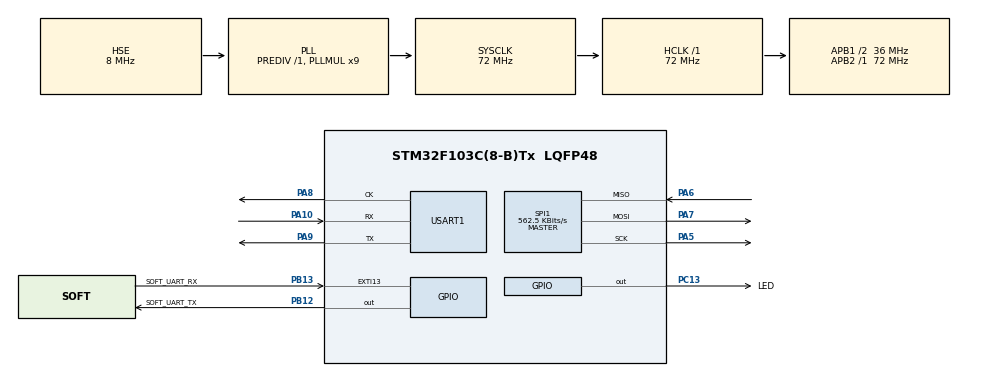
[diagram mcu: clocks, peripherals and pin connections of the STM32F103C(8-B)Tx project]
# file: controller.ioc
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Dma.MEMTOMEM.0.Direction=DMA_MEMORY_TO_MEMORY
Dma.MEMTOMEM.0.Instance=DMA1_Channel1
Dma.MEMTOMEM.0.MemDataAlignment=DMA_MDATAALIGN_BYTE
Dma.MEMTOMEM.0.MemInc=DMA_MINC_ENABLE
Dma.MEMTOMEM.0.Mode=DMA_NORMAL
Dma.MEMTOMEM.0.PeriphDataAlignment=DMA_PDATAALIGN_BYTE
Dma.MEMTOMEM.0.PeriphInc=DMA_PINC_ENABLE
Dma.MEMTOMEM.0.Priority=DMA_PRIORITY_LOW
Dma.Request0=MEMTOMEM
Mcu.Family=STM32F1
Mcu.Name=STM32F103C(8-B)Tx
Mcu.Package=LQFP48
NVIC.PriorityGroup=NVIC_PRIORITYGROUP_4
NVIC.SPI1_IRQn=true\:0\:0\:false\:false\:true\:true\:true
NVIC.TIM2_IRQn=true\:0\:0\:false\:false\:true\:true\:true
NVIC.USART1_IRQn=true\:0\:0\:false\:false\:true\:true\:true
PA10.Mode=Synchronous
PA10.Signal=USART1_RX
PA13.Mode=JTAG_4_pins
PA13.Signal=SYS_JTMS-SWDIO
PA14.Mode=JTAG_4_pins
PA14.Signal=SYS_JTCK-SWCLK
PA15.Mode=JTAG_4_pins
PA15.Signal=SYS_JTDI
PA5.Mode=Full_Duplex_Master
PA5.Signal=SPI1_SCK
PA6.Mode=Full_Duplex_Master
PA6.Signal=SPI1_MISO
PA7.Mode=Full_Duplex_Master
PA7.Signal=SPI1_MOSI
PA8.Mode=Synchronous
PA8.Signal=USART1_CK
PA9.Mode=Synchronous
PA9.Signal=USART1_TX
PB12.GPIO_Label=SOFT_UART_TX
PB12.Signal=GPIO_Output
PB13.GPIO_Label=SOFT_UART_RX
PB13.GPIO_ModeDefaultEXTI=GPIO_MODE_IT_FALLING
PB13.GPIO_PuPd=GPIO_PULLUP
PB13.Signal=GPXTI13
PB3.Mode=JTAG_4_pins
PB3.Signal=SYS_JTDO-TRACESWO
PC13-TAMPER-RTC.GPIO_Label=LED
PC13-TAMPER-RTC.Signal=GPIO_Output
PD0-OSC_IN.Mode=HSE-External-Oscillator
PD0-OSC_IN.Signal=RCC_OSC_IN
PD1-OSC_OUT.Mode=HSE-External-Oscillator
PD1-OSC_OUT.Signal=RCC_OSC_OUT
ProjectManager.HeapSize=0x200
ProjectManager.StackSize=0x400
ProjectManager.TargetToolchain=Makefile
RCC.AHBFreq_Value=72000000
RCC.APB1CLKDivider=RCC_HCLK_DIV2
RCC.APB1Freq_Value=36000000
RCC.APB1TimFreq_Value=72000000
RCC.APB2Freq_Value=72000000
RCC.APB2TimFreq_Value=72000000
RCC.HCLKFreq_Value=72000000
RCC.PLLMUL=RCC_PLL_MUL9
RCC.PLLSourceVirtual=RCC_PLLSOURCE_HSE
RCC.SYSCLKFreq_VALUE=72000000
RCC.SYSCLKSource=RCC_SYSCLKSOURCE_PLLCLK
RCC.USBFreq_Value=72000000
SPI1.BaudRatePrescaler=SPI_BAUDRATEPRESCALER_128
SPI1.CalculateBaudRate=562.5 KBits/s
SPI1.Direction=SPI_DIRECTION_2LINES
SPI1.Mode=SPI_MODE_MASTER
SPI1.VirtualType=VM_MASTER
TIM2.AutoReloadPreload=TIM_AUTORELOAD_PRELOAD_ENABLE
TIM2.ClockDivision=TIM_CLOCKDIVISION_DIV4
TIM2.Period=30000
USART1.VirtualMode=VM_SYNC
VP_TIM2_VS_ClockSourceINT.Mode=Internal
board=custom

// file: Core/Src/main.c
/* USER CODE BEGIN Header */
/**
  ******************************************************************************
  * @file           : main.c
  * @brief          : Main program body
  ******************************************************************************
  * @attention
  *
  * <h2><center>&copy; Copyright (c) 2021 STMicroelectronics.
  * All rights reserved.</center></h2>
  *
  * This software component is licensed by ST under BSD 3-Clause license,
  * the "License"; You may not use this file except in compliance with the
  * License. You may obtain a copy of the License at:
  *                        opensource.org/licenses/BSD-3-Clause
  *
  ******************************************************************************
  */
/* USER CODE END Header */
#include "main.h"

SPI_HandleTypeDef hspi1;

TIM_HandleTypeDef htim2;

USART_HandleTypeDef husart1;

DMA_HandleTypeDef hdma_memtomem_dma1_channel1;
/* USER CODE BEGIN PV */
typedef struct __soft_tx
{
  uint8_t *buffer;
  uint16_t buffer_size;
  uint8_t *read_pt;
  uint8_t *write_pt;
  uint8_t start;
  uint8_t end;
} soft_tx;

soft_tx suart;

int soft_uart_init(soft_tx *suart);
int soft_uart_tx_byte(uint8_t symbol);
void soft_uart_write(soft_tx *suart, uint8_t *string, uint16_t string_size);

/* USER CODE END PV */

void SystemClock_Config(void);
static void MX_GPIO_Init(void);
static void MX_DMA_Init(void);
static void MX_USART1_Init(void);
static void MX_TIM2_Init(void);
static void MX_SPI1_Init(void);

/* USER CODE BEGIN 0 */

int soft_uart_init(soft_tx *suart)
{
  suart->buffer_size = 100;

  uint8_t *ptr = malloc(suart->buffer_size);

  if (ptr == NULL)
  {
    return -1;
  }
  else
  {
    suart->buffer = suart->read_pt = suart->write_pt = ptr;
    suart->start = suart->end = 0;
    return 0;
  }
}

void soft_uart_write(soft_tx *suart, uint8_t *string, uint16_t string_size)
{
  for (; string_size > 0; string_size--)
  {
    if (suart->write_pt > (suart->start + suart->buffer_size))
    {
      suart->write_pt = suart->start;
    }

    *suart->write_pt = *string;

    if (*string == 0)
    {
      break;
    }

    string++;
    suart->write_pt++;
  }

  suart->start = 1;
}

/* USER CODE END 0 */

int main(void)
{

  /* MCU Configuration--------------------------------------------------------*/

  /* Reset of all peripherals, Initializes the Flash interface and the Systick. */
  HAL_Init();

  /* Configure the system clock */
  SystemClock_Config();

  /* Initialize all configured peripherals */
  MX_GPIO_Init();
  MX_DMA_Init();
  MX_USART1_Init();
  MX_TIM2_Init();
  MX_SPI1_Init();
  /* USER CODE BEGIN 2 */
  HAL_TIM_Base_Start_IT(&htim2);

  /* USER CODE END 2 */

  /* Infinite loop */
  /* USER CODE BEGIN WHILE */

  // soft_uart_init(&suart);
  // soft_uart_write(&suart, "Hello!", 7);

  uint32_t buffer_size = 100;

  char *src = malloc(buffer_size);
  char *dest = malloc(buffer_size);

  for (char i = 0; i < buffer_size; i++)
  {
    src[i] = i;
  }

  // DMA_HandleTypeDef hdma_memtomem_dma1_channel1;
  // HAL_StatusTypeDef HAL_DMA_Start(DMA_HandleTypeDef *hdma, uint32_t SrcAddress, uint32_t DstAddress, uint32_t DataLength)

  HAL_DMA_Start(&hdma_memtomem_dma1_channel1, src, dest, buffer_size);

  char msg[] = "Hello World!\r\n";

while (1)
  {
    /* USER CODE END WHILE */
    // printf("Hello World!\n");
    // HAL_USART_Transmit(&husart1, msg, 13, 500);
    // HAL_USART_Transmit_IT(&husart1, msg, 15);

    HAL_USART_Transmit_IT(&husart1, dest, buffer_size);
  }
}

void SystemClock_Config(void)
{
  RCC_OscInitTypeDef RCC_OscInitStruct = {0};
  RCC_ClkInitTypeDef RCC_ClkInitStruct = {0};

  /** Initializes the RCC Oscillators according to the specified parameters
  * in the RCC_OscInitTypeDef structure.
  */
  RCC_OscInitStruct.OscillatorType = RCC_OSCILLATORTYPE_HSE;
  RCC_OscInitStruct.HSEState = RCC_HSE_ON;
  RCC_OscInitStruct.HSEPredivValue = RCC_HSE_PREDIV_DIV1;
  RCC_OscInitStruct.HSIState = RCC_HSI_ON;
  RCC_OscInitStruct.PLL.PLLState = RCC_PLL_ON;
  RCC_OscInitStruct.PLL.PLLSource = RCC_PLLSOURCE_HSE;
  RCC_OscInitStruct.PLL.PLLMUL = RCC_PLL_MUL9;
  if (HAL_RCC_OscConfig(&RCC_OscInitStruct) != HAL_OK)
  {
    Error_Handler();
  }
  /** Initializes the CPU, AHB and APB buses clocks
  */
  RCC_ClkInitStruct.ClockType = RCC_CLOCKTYPE_HCLK|RCC_CLOCKTYPE_SYSCLK
                              |RCC_CLOCKTYPE_PCLK1|RCC_CLOCKTYPE_PCLK2;
  RCC_ClkInitStruct.SYSCLKSource = RCC_SYSCLKSOURCE_PLLCLK;
  RCC_ClkInitStruct.AHBCLKDivider = RCC_SYSCLK_DIV1;
  RCC_ClkInitStruct.APB1CLKDivider = RCC_HCLK_DIV2;
  RCC_ClkInitStruct.APB2CLKDivider = RCC_HCLK_DIV1;

  if (HAL_RCC_ClockConfig(&RCC_ClkInitStruct, FLASH_LATENCY_2) != HAL_OK)
  {
    Error_Handler();
  }
}

static void MX_SPI1_Init(void)
{

  /* SPI1 parameter configuration*/
  hspi1.Instance = SPI1;
  hspi1.Init.Mode = SPI_MODE_MASTER;
  hspi1.Init.Direction = SPI_DIRECTION_2LINES;
  hspi1.Init.DataSize = SPI_DATASIZE_8BIT;
  hspi1.Init.CLKPolarity = SPI_POLARITY_LOW;
  hspi1.Init.CLKPhase = SPI_PHASE_1EDGE;
  hspi1.Init.NSS = SPI_NSS_SOFT;
  hspi1.Init.BaudRatePrescaler = SPI_BAUDRATEPRESCALER_128;
  hspi1.Init.FirstBit = SPI_FIRSTBIT_MSB;
  hspi1.Init.TIMode = SPI_TIMODE_DISABLE;
  hspi1.Init.CRCCalculation = SPI_CRCCALCULATION_DISABLE;
  hspi1.Init.CRCPolynomial = 10;
  if (HAL_SPI_Init(&hspi1) != HAL_OK)
  {
    Error_Handler();
  }

}

static void MX_TIM2_Init(void)
{

  TIM_ClockConfigTypeDef sClockSourceConfig = {0};
  TIM_MasterConfigTypeDef sMasterConfig = {0};

  htim2.Instance = TIM2;
  htim2.Init.Prescaler = 0;
  htim2.Init.CounterMode = TIM_COUNTERMODE_UP;
  htim2.Init.Period = 30000;
  htim2.Init.ClockDivision = TIM_CLOCKDIVISION_DIV4;
  htim2.Init.AutoReloadPreload = TIM_AUTORELOAD_PRELOAD_ENABLE;
  if (HAL_TIM_Base_Init(&htim2) != HAL_OK)
  {
    Error_Handler();
  }
  sClockSourceConfig.ClockSource = TIM_CLOCKSOURCE_INTERNAL;
  if (HAL_TIM_ConfigClockSource(&htim2, &sClockSourceConfig) != HAL_OK)
  {
    Error_Handler();
  }
  sMasterConfig.MasterOutputTrigger = TIM_TRGO_RESET;
  sMasterConfig.MasterSlaveMode = TIM_MASTERSLAVEMODE_DISABLE;
  if (HAL_TIMEx_MasterConfigSynchronization(&htim2, &sMasterConfig) != HAL_OK)
  {
    Error_Handler();
  }

}

static void MX_USART1_Init(void)
{

  husart1.Instance = USART1;
  husart1.Init.BaudRate = 115200;
  husart1.Init.WordLength = USART_WORDLENGTH_8B;
  husart1.Init.StopBits = USART_STOPBITS_1;
  husart1.Init.Parity = USART_PARITY_NONE;
  husart1.Init.Mode = USART_MODE_TX_RX;
  husart1.Init.CLKPolarity = USART_POLARITY_LOW;
  husart1.Init.CLKPhase = USART_PHASE_1EDGE;
  husart1.Init.CLKLastBit = USART_LASTBIT_DISABLE;
  if (HAL_USART_Init(&husart1) != HAL_OK)
  {
    Error_Handler();
  }

}

static void MX_DMA_Init(void)
{

  /* DMA controller clock enable */
  __HAL_RCC_DMA1_CLK_ENABLE();

  /* Configure DMA request hdma_memtomem_dma1_channel1 on DMA1_Channel1 */
  hdma_memtomem_dma1_channel1.Instance = DMA1_Channel1;
  hdma_memtomem_dma1_channel1.Init.Direction = DMA_MEMORY_TO_MEMORY;
  hdma_memtomem_dma1_channel1.Init.PeriphInc = DMA_PINC_ENABLE;
  hdma_memtomem_dma1_channel1.Init.MemInc = DMA_MINC_ENABLE;
  hdma_memtomem_dma1_channel1.Init.PeriphDataAlignment = DMA_PDATAALIGN_BYTE;
  hdma_memtomem_dma1_channel1.Init.MemDataAlignment = DMA_MDATAALIGN_BYTE;
  hdma_memtomem_dma1_channel1.Init.Mode = DMA_NORMAL;
  hdma_memtomem_dma1_channel1.Init.Priority = DMA_PRIORITY_LOW;
  if (HAL_DMA_Init(&hdma_memtomem_dma1_channel1) != HAL_OK)
  {
    Error_Handler( );
  }

}

static void MX_GPIO_Init(void)
{
  GPIO_InitTypeDef GPIO_InitStruct = {0};

  /* GPIO Ports Clock Enable */
  __HAL_RCC_GPIOC_CLK_ENABLE();
  __HAL_RCC_GPIOD_CLK_ENABLE();
  __HAL_RCC_GPIOA_CLK_ENABLE();
  __HAL_RCC_GPIOB_CLK_ENABLE();

  /*Configure GPIO pin Output Level */
  HAL_GPIO_WritePin(LED_GPIO_Port, LED_Pin, GPIO_PIN_RESET);

  /*Configure GPIO pin Output Level */
  HAL_GPIO_WritePin(SOFT_UART_TX_GPIO_Port, SOFT_UART_TX_Pin, GPIO_PIN_RESET);

  /*Configure GPIO pin : LED_Pin */
  GPIO_InitStruct.Pin = LED_Pin;
  GPIO_InitStruct.Mode = GPIO_MODE_OUTPUT_PP;
  GPIO_InitStruct.Pull = GPIO_NOPULL;
  GPIO_InitStruct.Speed = GPIO_SPEED_FREQ_LOW;
  HAL_GPIO_Init(LED_GPIO_Port, &GPIO_InitStruct);

  /*Configure GPIO pin : SOFT_UART_TX_Pin */
  GPIO_InitStruct.Pin = SOFT_UART_TX_Pin;
  GPIO_InitStruct.Mode = GPIO_MODE_OUTPUT_PP;
  GPIO_InitStruct.Pull = GPIO_NOPULL;
  GPIO_InitStruct.Speed = GPIO_SPEED_FREQ_LOW;
  HAL_GPIO_Init(SOFT_UART_TX_GPIO_Port, &GPIO_InitStruct);

  /*Configure GPIO pin : SOFT_UART_RX_Pin */
  GPIO_InitStruct.Pin = SOFT_UART_RX_Pin;
  GPIO_InitStruct.Mode = GPIO_MODE_IT_FALLING;
  GPIO_InitStruct.Pull = GPIO_PULLUP;
  HAL_GPIO_Init(SOFT_UART_RX_GPIO_Port, &GPIO_InitStruct);

}

void Error_Handler(void)
{
}

/************************ (C) COPYRIGHT STMicroelectronics *****END OF FILE****/
